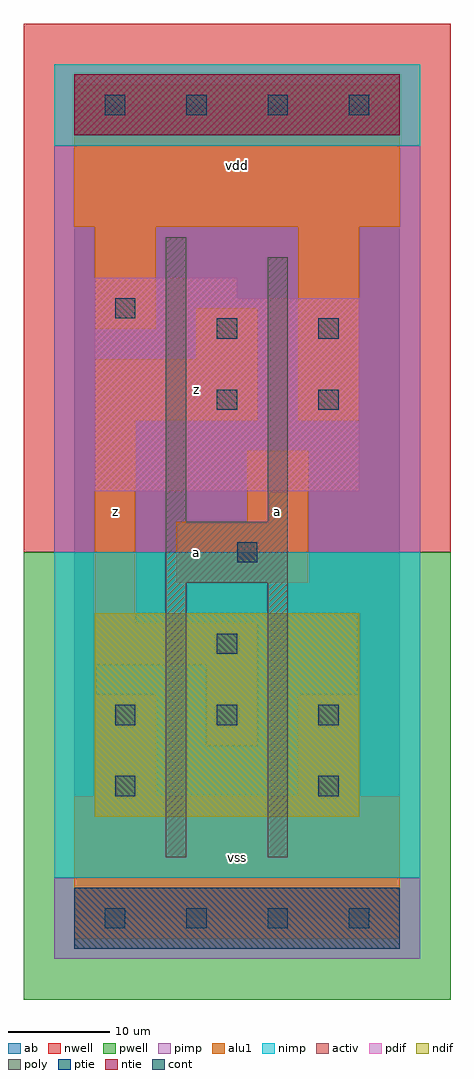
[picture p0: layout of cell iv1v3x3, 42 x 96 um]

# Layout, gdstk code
import gdstk
lib = gdstk.Library(unit=1e-6, precision=1e-09)
def R(c, l, rs):  # rectangles x0, y0, x1, y1
    for r in rs: c.add(gdstk.rectangle(r[:2], r[2:], *l))
def A(c, l, x, y, w, h, nx, ny, dx, dy):  # array of equal rectangles
    R(c, l, [(x+i*dx, y+j*dy, x+i*dx+w, y+j*dy+h) for i in range(nx) for j in range(ny)])
ndif = (3, 0)
pdif = (4, 0)
ntie = (5, 0)
ptie = (6, 0)
cont = (25, 0)
pwell = (41, 0)
nwell = (42, 0)
activ = (43, 0)
pimp = (44, 0)
nimp = (45, 0)
poly = (46, 0)
alu1 = (49, 0)
ab = (63, 0)

iv1v3x3 = lib.new_cell('iv1v3x3')
R(iv1v3x3, ndif, [(2,10,28,30)])
R(iv1v3x3, pdif, [(2,42,28,61), (2,61,16,63)])
R(iv1v3x3, ntie, [(0,77,32,83)])
R(iv1v3x3, ptie, [(0,-3,32,3)])
A(iv1v3x3, cont, 3, -1, 2, 2, 4, 2, 8, 80)
A(iv1v3x3, cont, 4, 19, 2, 2, 3, 1, 10, 0)
R(iv1v3x3, cont, [(4,12,6,14), (24,12,26,14), (14,26,16,28), (16,35,18,37), (14,50,16,52), (24,50,26,52), (14,57,16,59), (24,57,26,59), (4,59,6,61)])
R(iv1v3x3, pwell, [(-5,-8,37,36)])
R(iv1v3x3, nwell, [(-5,36,37,88)])
R(iv1v3x3, activ, [(0,-3,32,3), (2,10,28,30), (2,42,28,61), (2,61,16,63), (0,77,32,83)])
R(iv1v3x3, pimp, [(-2,-4,34,4), (-2,36,34,76)])
R(iv1v3x3, nimp, [(-2,4,34,36), (-2,76,34,84)])
R(iv1v3x3, poly, [(9,6,11,33), (19,6,21,33), (9,33,21,39), (9,39,11,67), (19,39,21,65)])
R(iv1v3x3, alu1, [(0,-2,32,12), (2,12,8,22), (22,12,28,22), (13,17,18,25), (2,25,18,29), (2,29,6,49), (10,33,23,39), (17,39,23,46), (2,49,18,55), (22,49,28,68), (12,55,18,60), (2,58,8,68), (0,68,32,82)])
R(iv1v3x3, ab, [(0,0,32,80)])
iv1v3x3.add(gdstk.Label('z', (4,40), layer=49, texttype=0))
iv1v3x3.add(gdstk.Label('a', (12,36), layer=49, texttype=0))
iv1v3x3.add(gdstk.Label('z', (12,52), layer=49, texttype=0))
iv1v3x3.add(gdstk.Label('vss', (16,6), layer=49, texttype=0))
iv1v3x3.add(gdstk.Label('a', (20,40), layer=49, texttype=0))
iv1v3x3.add(gdstk.Label('vdd', (16,74), layer=49, texttype=0))

lib.write_gds('iv1v3x3.gds')
